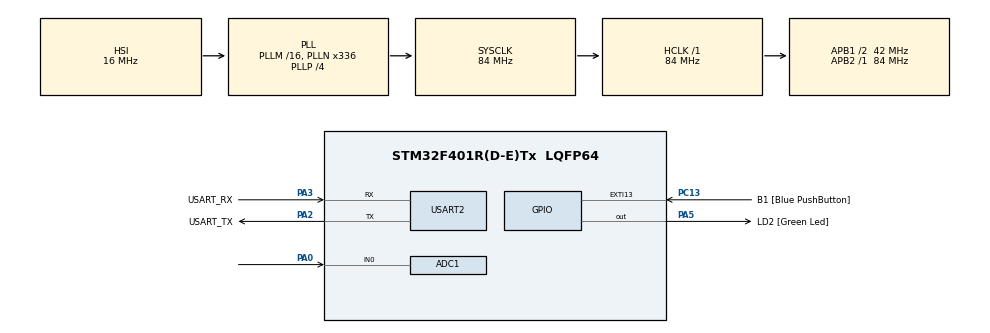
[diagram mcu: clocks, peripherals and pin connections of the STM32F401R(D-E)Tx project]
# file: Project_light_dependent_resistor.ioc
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ADC1.Channel-0\#ChannelRegularConversion=ADC_CHANNEL_0
ADC1.DMAContinuousRequests=ENABLE
ADC1.ExternalTrigConv=ADC_EXTERNALTRIGCONV_T3_TRGO
ADC1.NbrOfConversionFlag=1
ADC1.Rank-0\#ChannelRegularConversion=1
ADC1.SamplingTime-0\#ChannelRegularConversion=ADC_SAMPLETIME_480CYCLES
ADC1.master=1
Dma.ADC1.0.Direction=DMA_PERIPH_TO_MEMORY
Dma.ADC1.0.FIFOMode=DMA_FIFOMODE_DISABLE
Dma.ADC1.0.Instance=DMA2_Stream0
Dma.ADC1.0.MemDataAlignment=DMA_MDATAALIGN_HALFWORD
Dma.ADC1.0.MemInc=DMA_MINC_ENABLE
Dma.ADC1.0.Mode=DMA_CIRCULAR
Dma.ADC1.0.PeriphDataAlignment=DMA_PDATAALIGN_HALFWORD
Dma.ADC1.0.PeriphInc=DMA_PINC_DISABLE
Dma.ADC1.0.Priority=DMA_PRIORITY_HIGH
Dma.Request0=ADC1
Mcu.Family=STM32F4
Mcu.Name=STM32F401R(D-E)Tx
Mcu.Package=LQFP64
NVIC.ADC_IRQn=true\:0\:0\:false\:false\:true\:true\:true\:true
NVIC.DMA2_Stream0_IRQn=true\:0\:0\:false\:false\:true\:false\:true\:true
NVIC.PriorityGroup=NVIC_PRIORITYGROUP_0
NVIC.TIM2_IRQn=true\:0\:0\:false\:false\:true\:true\:true\:true
PA0-WKUP.Signal=ADCx_IN0
PA13.GPIO_Label=TMS
PA13.Mode=Serial_Wire
PA13.Signal=SYS_JTMS-SWDIO
PA14.GPIO_Label=TCK
PA14.Mode=Serial_Wire
PA14.Signal=SYS_JTCK-SWCLK
PA2.GPIO_Label=USART_TX
PA2.GPIO_Mode=GPIO_MODE_AF_PP
PA2.GPIO_PuPd=GPIO_NOPULL
PA2.GPIO_Speed=GPIO_SPEED_FREQ_LOW
PA2.Mode=Asynchronous
PA2.Signal=USART2_TX
PA3.GPIO_Label=USART_RX
PA3.GPIO_Mode=GPIO_MODE_AF_PP
PA3.GPIO_PuPd=GPIO_NOPULL
PA3.GPIO_Speed=GPIO_SPEED_FREQ_LOW
PA3.Mode=Asynchronous
PA3.Signal=USART2_RX
PA5.GPIO_Label=LD2 [Green Led]
PA5.GPIO_Mode=GPIO_MODE_OUTPUT_PP
PA5.GPIO_PuPd=GPIO_NOPULL
PA5.GPIO_Speed=GPIO_SPEED_FREQ_LOW
PA5.Signal=GPIO_Output
PB3.GPIO_Label=SWO
PB3.Signal=SYS_JTDO-SWO
PC13-ANTI_TAMP.GPIO_Label=B1 [Blue PushButton]
PC13-ANTI_TAMP.GPIO_ModeDefaultEXTI=GPIO_MODE_IT_FALLING
PC13-ANTI_TAMP.GPIO_PuPd=GPIO_NOPULL
PC13-ANTI_TAMP.Signal=GPXTI13
PC14-OSC32_IN.Mode=LSE-External-Oscillator
PC14-OSC32_IN.Signal=RCC_OSC32_IN
PC15-OSC32_OUT.Mode=LSE-External-Oscillator
PC15-OSC32_OUT.Signal=RCC_OSC32_OUT
PH0\ -\ OSC_IN.Mode=HSE-External-Clock-Source
PH0\ -\ OSC_IN.Signal=RCC_OSC_IN
PH1\ -\ OSC_OUT.Mode=HSE-External-Clock-Source
PH1\ -\ OSC_OUT.Signal=RCC_OSC_OUT
ProjectManager.HeapSize=0x200
ProjectManager.StackSize=0x400
ProjectManager.TargetToolchain=STM32CubeIDE
RCC.48MHZClocksFreq_Value=48000000
RCC.AHBFreq_Value=84000000
RCC.APB1CLKDivider=RCC_HCLK_DIV2
RCC.APB1Freq_Value=42000000
RCC.APB1TimFreq_Value=84000000
RCC.APB2Freq_Value=84000000
RCC.APB2TimFreq_Value=84000000
RCC.CortexFreq_Value=84000000
RCC.HCLKFreq_Value=84000000
RCC.HSE_VALUE=8000000
RCC.HSI_VALUE=16000000
RCC.PLLN=336
RCC.PLLP=RCC_PLLP_DIV4
RCC.PLLQ=7
RCC.SYSCLKFreq_VALUE=84000000
RCC.SYSCLKSource=RCC_SYSCLKSOURCE_PLLCLK
RCC.VCOOutputFreq_Value=336000000
SH.ADCx_IN0.0=ADC1_IN0,IN0
TIM2.Period=83999
TIM2.Prescaler=999
TIM2.TIM_MasterOutputTrigger=TIM_TRGO_UPDATE
TIM3.Period=8399
TIM3.Prescaler=9
TIM3.TIM_MasterOutputTrigger=TIM_TRGO_UPDATE
USART2.VirtualMode=VM_ASYNC
VP_TIM1_VS_ClockSourceINT.Mode=Internal
VP_TIM2_VS_ClockSourceINT.Mode=Internal
VP_TIM3_VS_ClockSourceINT.Mode=Internal
board=NUCLEO-F401RE

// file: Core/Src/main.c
/* USER CODE BEGIN Header */
/**
  ******************************************************************************
  * @file           : main.c
  * @brief          : Main program body
  ******************************************************************************
  * @attention
  *
  * Copyright (c) 2024 STMicroelectronics.
  * All rights reserved.
  *
  * This software is licensed under terms that can be found in the LICENSE file
  * in the root directory of this software component.
  * If no LICENSE file comes with this software, it is provided AS-IS.
  *
  ******************************************************************************
  */
/* USER CODE END Header */
#include "main.h"

ADC_HandleTypeDef hadc1;
DMA_HandleTypeDef hdma_adc1;

TIM_HandleTypeDef htim1;
TIM_HandleTypeDef htim2;
TIM_HandleTypeDef htim3;

UART_HandleTypeDef huart2;

void SystemClock_Config(void);
static void MX_GPIO_Init(void);
static void MX_DMA_Init(void);
static void MX_USART2_UART_Init(void);
static void MX_ADC1_Init(void);
static void MX_TIM1_Init(void);
static void MX_TIM2_Init(void);
static void MX_TIM3_Init(void);
/* USER CODE BEGIN PFP */

void HAL_ADC_ConvCpltCallback(ADC_HandleTypeDef* hadc);
void HAL_TIM_PeriodElapsedCallback(TIM_HandleTypeDef *htim);

/* USER CODE END PFP */

/* USER CODE BEGIN 0 */

uint16_t adc_buffer;
float avg = 0;
int n_elem = 0;

/* USER CODE END 0 */

int main(void)
{

  /* MCU Configuration--------------------------------------------------------*/

  /* Reset of all peripherals, Initializes the Flash interface and the Systick. */
  HAL_Init();

  /* Configure the system clock */
  SystemClock_Config();

  /* Initialize all configured peripherals */
  MX_GPIO_Init();
  MX_DMA_Init();
  MX_USART2_UART_Init();
  MX_ADC1_Init();
  MX_TIM1_Init();
  MX_TIM2_Init();
  MX_TIM3_Init();
  /* USER CODE BEGIN 2 */

  HAL_TIM_Base_Start(&htim3);
  HAL_TIM_Base_Start_IT(&htim2);

  HAL_ADC_Start_DMA(&hadc1, &adc_buffer, 1);

  /* USER CODE END 2 */

  /* Infinite loop */
  while (1)
  {

  }
}

void SystemClock_Config(void)
{
  RCC_OscInitTypeDef RCC_OscInitStruct = {0};
  RCC_ClkInitTypeDef RCC_ClkInitStruct = {0};

  /** Configure the main internal regulator output voltage
  */
  __HAL_RCC_PWR_CLK_ENABLE();
  __HAL_PWR_VOLTAGESCALING_CONFIG(PWR_REGULATOR_VOLTAGE_SCALE2);

  /** Initializes the RCC Oscillators according to the specified parameters
  * in the RCC_OscInitTypeDef structure.
  */
  RCC_OscInitStruct.OscillatorType = RCC_OSCILLATORTYPE_HSI;
  RCC_OscInitStruct.HSIState = RCC_HSI_ON;
  RCC_OscInitStruct.HSICalibrationValue = RCC_HSICALIBRATION_DEFAULT;
  RCC_OscInitStruct.PLL.PLLState = RCC_PLL_ON;
  RCC_OscInitStruct.PLL.PLLSource = RCC_PLLSOURCE_HSI;
  RCC_OscInitStruct.PLL.PLLM = 16;
  RCC_OscInitStruct.PLL.PLLN = 336;
  RCC_OscInitStruct.PLL.PLLP = RCC_PLLP_DIV4;
  RCC_OscInitStruct.PLL.PLLQ = 7;
  if (HAL_RCC_OscConfig(&RCC_OscInitStruct) != HAL_OK)
  {
    Error_Handler();
  }

  /** Initializes the CPU, AHB and APB buses clocks
  */
  RCC_ClkInitStruct.ClockType = RCC_CLOCKTYPE_HCLK|RCC_CLOCKTYPE_SYSCLK
                              |RCC_CLOCKTYPE_PCLK1|RCC_CLOCKTYPE_PCLK2;
  RCC_ClkInitStruct.SYSCLKSource = RCC_SYSCLKSOURCE_PLLCLK;
  RCC_ClkInitStruct.AHBCLKDivider = RCC_SYSCLK_DIV1;
  RCC_ClkInitStruct.APB1CLKDivider = RCC_HCLK_DIV2;
  RCC_ClkInitStruct.APB2CLKDivider = RCC_HCLK_DIV1;

  if (HAL_RCC_ClockConfig(&RCC_ClkInitStruct, FLASH_LATENCY_2) != HAL_OK)
  {
    Error_Handler();
  }
}

static void MX_ADC1_Init(void)
{

  ADC_ChannelConfTypeDef sConfig = {0};

  /** Configure the global features of the ADC (Clock, Resolution, Data Alignment and number of conversion)
  */
  hadc1.Instance = ADC1;
  hadc1.Init.ClockPrescaler = ADC_CLOCK_SYNC_PCLK_DIV4;
  hadc1.Init.Resolution = ADC_RESOLUTION_12B;
  hadc1.Init.ScanConvMode = DISABLE;
  hadc1.Init.ContinuousConvMode = DISABLE;
  hadc1.Init.DiscontinuousConvMode = DISABLE;
  hadc1.Init.ExternalTrigConvEdge = ADC_EXTERNALTRIGCONVEDGE_RISING;
  hadc1.Init.ExternalTrigConv = ADC_EXTERNALTRIGCONV_T3_TRGO;
  hadc1.Init.DataAlign = ADC_DATAALIGN_RIGHT;
  hadc1.Init.NbrOfConversion = 1;
  hadc1.Init.DMAContinuousRequests = ENABLE;
  hadc1.Init.EOCSelection = ADC_EOC_SINGLE_CONV;
  if (HAL_ADC_Init(&hadc1) != HAL_OK)
  {
    Error_Handler();
  }

  /** Configure for the selected ADC regular channel its corresponding rank in the sequencer and its sample time.
  */
  sConfig.Channel = ADC_CHANNEL_0;
  sConfig.Rank = 1;
  sConfig.SamplingTime = ADC_SAMPLETIME_480CYCLES;
  if (HAL_ADC_ConfigChannel(&hadc1, &sConfig) != HAL_OK)
  {
    Error_Handler();
  }

}

static void MX_TIM1_Init(void)
{

  TIM_ClockConfigTypeDef sClockSourceConfig = {0};
  TIM_MasterConfigTypeDef sMasterConfig = {0};

  htim1.Instance = TIM1;
  htim1.Init.Prescaler = 0;
  htim1.Init.CounterMode = TIM_COUNTERMODE_UP;
  htim1.Init.Period = 65535;
  htim1.Init.ClockDivision = TIM_CLOCKDIVISION_DIV1;
  htim1.Init.RepetitionCounter = 0;
  htim1.Init.AutoReloadPreload = TIM_AUTORELOAD_PRELOAD_DISABLE;
  if (HAL_TIM_Base_Init(&htim1) != HAL_OK)
  {
    Error_Handler();
  }
  sClockSourceConfig.ClockSource = TIM_CLOCKSOURCE_INTERNAL;
  if (HAL_TIM_ConfigClockSource(&htim1, &sClockSourceConfig) != HAL_OK)
  {
    Error_Handler();
  }
  sMasterConfig.MasterOutputTrigger = TIM_TRGO_RESET;
  sMasterConfig.MasterSlaveMode = TIM_MASTERSLAVEMODE_DISABLE;
  if (HAL_TIMEx_MasterConfigSynchronization(&htim1, &sMasterConfig) != HAL_OK)
  {
    Error_Handler();
  }

}

static void MX_TIM2_Init(void)
{

  TIM_ClockConfigTypeDef sClockSourceConfig = {0};
  TIM_MasterConfigTypeDef sMasterConfig = {0};

  htim2.Instance = TIM2;
  htim2.Init.Prescaler = 999;
  htim2.Init.CounterMode = TIM_COUNTERMODE_UP;
  htim2.Init.Period = 83999;
  htim2.Init.ClockDivision = TIM_CLOCKDIVISION_DIV1;
  htim2.Init.AutoReloadPreload = TIM_AUTORELOAD_PRELOAD_DISABLE;
  if (HAL_TIM_Base_Init(&htim2) != HAL_OK)
  {
    Error_Handler();
  }
  sClockSourceConfig.ClockSource = TIM_CLOCKSOURCE_INTERNAL;
  if (HAL_TIM_ConfigClockSource(&htim2, &sClockSourceConfig) != HAL_OK)
  {
    Error_Handler();
  }
  sMasterConfig.MasterOutputTrigger = TIM_TRGO_UPDATE;
  sMasterConfig.MasterSlaveMode = TIM_MASTERSLAVEMODE_DISABLE;
  if (HAL_TIMEx_MasterConfigSynchronization(&htim2, &sMasterConfig) != HAL_OK)
  {
    Error_Handler();
  }

}

static void MX_TIM3_Init(void)
{

  TIM_ClockConfigTypeDef sClockSourceConfig = {0};
  TIM_MasterConfigTypeDef sMasterConfig = {0};

  htim3.Instance = TIM3;
  htim3.Init.Prescaler = 9;
  htim3.Init.CounterMode = TIM_COUNTERMODE_UP;
  htim3.Init.Period = 8399;
  htim3.Init.ClockDivision = TIM_CLOCKDIVISION_DIV1;
  htim3.Init.AutoReloadPreload = TIM_AUTORELOAD_PRELOAD_DISABLE;
  if (HAL_TIM_Base_Init(&htim3) != HAL_OK)
  {
    Error_Handler();
  }
  sClockSourceConfig.ClockSource = TIM_CLOCKSOURCE_INTERNAL;
  if (HAL_TIM_ConfigClockSource(&htim3, &sClockSourceConfig) != HAL_OK)
  {
    Error_Handler();
  }
  sMasterConfig.MasterOutputTrigger = TIM_TRGO_UPDATE;
  sMasterConfig.MasterSlaveMode = TIM_MASTERSLAVEMODE_DISABLE;
  if (HAL_TIMEx_MasterConfigSynchronization(&htim3, &sMasterConfig) != HAL_OK)
  {
    Error_Handler();
  }

}

static void MX_USART2_UART_Init(void)
{

  huart2.Instance = USART2;
  huart2.Init.BaudRate = 115200;
  huart2.Init.WordLength = UART_WORDLENGTH_8B;
  huart2.Init.StopBits = UART_STOPBITS_1;
  huart2.Init.Parity = UART_PARITY_NONE;
  huart2.Init.Mode = UART_MODE_TX_RX;
  huart2.Init.HwFlowCtl = UART_HWCONTROL_NONE;
  huart2.Init.OverSampling = UART_OVERSAMPLING_16;
  if (HAL_UART_Init(&huart2) != HAL_OK)
  {
    Error_Handler();
  }

}

static void MX_DMA_Init(void)
{

  /* DMA controller clock enable */
  __HAL_RCC_DMA2_CLK_ENABLE();

  /* DMA interrupt init */
  /* DMA2_Stream0_IRQn interrupt configuration */
  HAL_NVIC_SetPriority(DMA2_Stream0_IRQn, 0, 0);
  HAL_NVIC_EnableIRQ(DMA2_Stream0_IRQn);

}

static void MX_GPIO_Init(void)
{
  GPIO_InitTypeDef GPIO_InitStruct = {0};

  /* GPIO Ports Clock Enable */
  __HAL_RCC_GPIOC_CLK_ENABLE();
  __HAL_RCC_GPIOH_CLK_ENABLE();
  __HAL_RCC_GPIOA_CLK_ENABLE();
  __HAL_RCC_GPIOB_CLK_ENABLE();

  /*Configure GPIO pin Output Level */
  HAL_GPIO_WritePin(LD2_GPIO_Port, LD2_Pin, GPIO_PIN_RESET);

  /*Configure GPIO pin : B1_Pin */
  GPIO_InitStruct.Pin = B1_Pin;
  GPIO_InitStruct.Mode = GPIO_MODE_IT_FALLING;
  GPIO_InitStruct.Pull = GPIO_NOPULL;
  HAL_GPIO_Init(B1_GPIO_Port, &GPIO_InitStruct);

  /*Configure GPIO pin : LD2_Pin */
  GPIO_InitStruct.Pin = LD2_Pin;
  GPIO_InitStruct.Mode = GPIO_MODE_OUTPUT_PP;
  GPIO_InitStruct.Pull = GPIO_NOPULL;
  GPIO_InitStruct.Speed = GPIO_SPEED_FREQ_LOW;
  HAL_GPIO_Init(LD2_GPIO_Port, &GPIO_InitStruct);

}

/* USER CODE BEGIN 4 */
void HAL_ADC_ConvCpltCallback(ADC_HandleTypeDef* hadc)
{
	float temp;
	float boh;
	char str[16] = {0};

	temp = adc_buffer;

	n_elem += 1;
	avg = ((avg * (n_elem - 1)) / n_elem) + (temp / n_elem);
	boh = 0;

}

HAL_TIM_PeriodElapsedCallback(TIM_HandleTypeDef *htim)
{
	if(htim == &htim2) {
		int boh;
		char str[16] = {0};
		sprintf(str, "%f\n", avg);
		HAL_UART_Transmit(&huart2, str, strlen(str), 1000);
		boh = 0;
	}

}

/* USER CODE END 4 */

void Error_Handler(void)
{
  __disable_irq();
  while (1)
  {
  }
}
